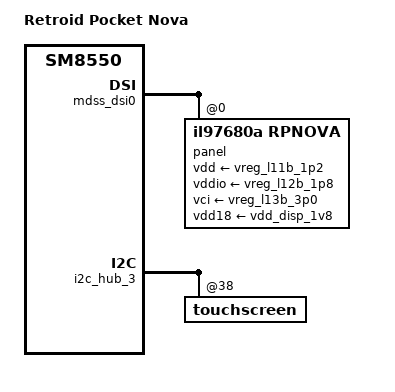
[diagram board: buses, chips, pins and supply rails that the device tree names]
// SPDX-License-Identifier: GPL-2.0
/*
 * Copyright (C) 2026-present ROCKNIX (https://github.com/ROCKNIX).
 */

/dts-v1/;

#include "qcs8550-retroidpocket-rp6.dts"

/ {
	model = "Retroid Pocket Nova";
	compatible = "retroidpocket,rpnova", "qcom,qcs8550", "qcom,sm8550";
};

&backlight {
	status = "disabled";
};

&mdss_dsi0 {
	panel@0 {
		compatible = "il97680a,rpnova";
		steamling,dpu-8bpc-dither;
		/delete-property/ backlight;
		/delete-property/ rotation;
		/*
		 * The Nova's own rails, as Android and Retroid's tree have them.
		 * The RP6 node supplies vddio and avdd, but the il97680a driver
		 * asks for vdd, vddio, vci, vdd18 and vdd28: avdd went unused,
		 * and the 2.8 V and 1.2 V rails stayed as the bootloader left
		 * them, on through every blank and suspend.
		 */
		/delete-property/ avdd-supply;
		vdd-supply = <&vreg_l11b_1p2>;
		vddio-supply = <&vreg_l12b_1p8>;
		vci-supply = <&vreg_l13b_3p0>;
		vdd18-supply = <&vdd_disp_1v8>;
		vdd28-supply = <&vdd_disp_2v8>;
	};
};

/* GPIO 142 is the RP6's; Android's qcom,platform-mipi-2v8 is 143. */
&vdd_disp_2v8 {
	gpio = <&tlmm 143 GPIO_ACTIVE_HIGH>;
};

&i2c_hub_3 {
	touchscreen@38 {
		touchscreen-size-x = <1280>;
		touchscreen-size-y = <960>;
		/delete-property/ touchscreen-inverted-y;
	};
};

&gamepad {
	invert-x;
	invert-y;
	trigger-left-deadzone = <100>;
	trigger-right-deadzone = <100>;
};
